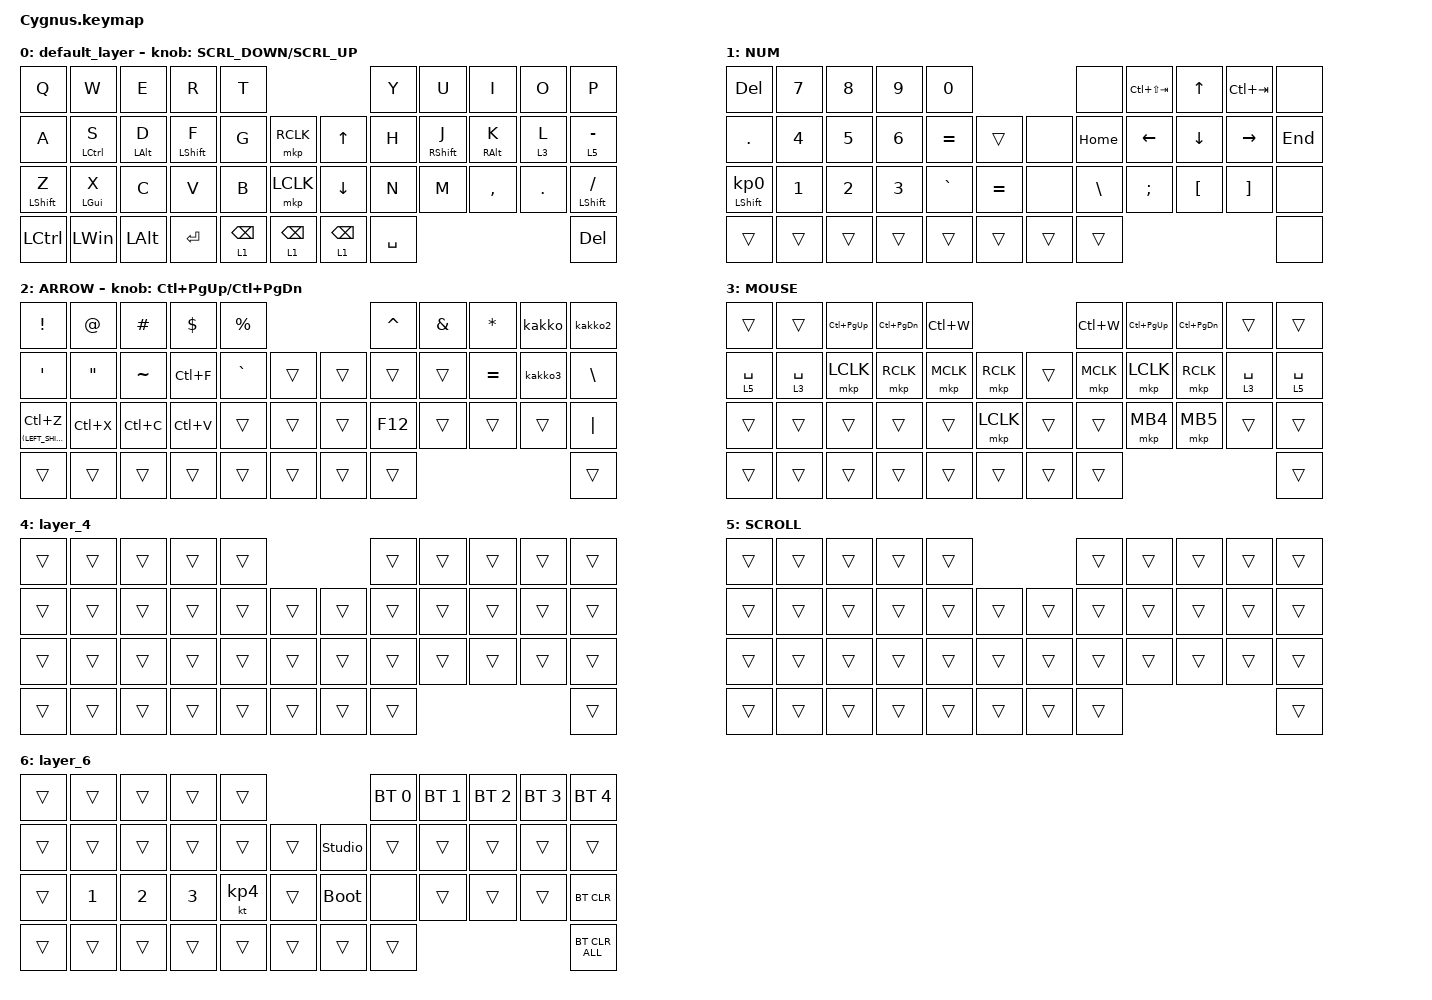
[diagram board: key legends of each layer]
#define ZMK_POINTING_DEFAULT_SCRL_VAL 120    // default: 10

#include <behaviors.dtsi>
#include <dt-bindings/zmk/bt.h>
#include <dt-bindings/zmk/keys.h>
#include <dt-bindings/zmk/pointing.h>

#define MOUSE 4
#define SCROLL 5
#define NUM 6

&mt {
    flavor = "balanced";
    quick-tap-ms = <0>;
    tapping-term-ms = <300>;
};

/ {
    combos {
        compatible = "zmk,combos";

        double_quotation {
            bindings = <&kp DOUBLE_QUOTES>;
            key-positions = <20 21>;
        };

        lang1 {
            bindings = <&kp LANG1>;
            key-positions = <18 19>;
        };

        lang2 {
            bindings = <&kp LANG2>;
            key-positions = <12 13>;
        };

        tab {
            bindings = <&kp TAB>;
            key-positions = <22 23>;
        };

        layer6 {
            bindings = <&mo 6>;
            key-positions = <38 41>;
        };

        esc {
            bindings = <&kp ESC>;
            key-positions = <0 1>;
        };

        del {
            bindings = <&kp DEL>;
            key-positions = <8 9>;
        };
    };

    macros {
        to_layer_0: to_layer_0 {
            compatible = "zmk,behavior-macro-one-param";
            #binding-cells = <1>;
            bindings = <&to 0 &macro_param_1to1 &kp MACRO_PLACEHOLDER>;
            label = "TO_LAYER_0";
        };

        kakko: kakko {
            compatible = "zmk,behavior-macro";
            #binding-cells = <0>;
            bindings =
                <&kp LEFT_PARENTHESIS &kp RIGHT_PARENTHESIS &kp LEFT_ARROW>,
                <&macro_tap>;

            label = "KAKKO";
        };

        kakko2: kakko2 {
            compatible = "zmk,behavior-macro";
            #binding-cells = <0>;
            bindings = <&kp LBKT &kp RBKT &kp LEFT_ARROW>;
            label = "KAKKO2";
        };

        kakko3: kakko3 {
            compatible = "zmk,behavior-macro";
            #binding-cells = <0>;
            bindings = <&kp LBRC &kp RBRC &kp LEFT_ARROW>;
            label = "KAKKO3";
        };
    };

    behaviors {
        lt_to_layer_0: lt_to_layer_0 {
            compatible = "zmk,behavior-hold-tap";
            label = "LAYER_TAP_TO_0";
            bindings = <&mo>, <&to_layer_0>;

            #binding-cells = <2>;
            tapping-term-ms = <200>;
        };

        ROTATE: ROTATE {
            compatible = "zmk,behavior-sensor-rotate-var";
            label = "ROTATE";
            #sensor-binding-cells = <2>;
            bindings = <&msc>, <&msc>;

            tap-ms = <20>;
        };
    };

    keymap {
        compatible = "zmk,keymap";

        default_layer {
            bindings = <
&kp Q             &kp W               &kp E           &kp R             &kp T                                                  &kp Y      &kp U              &kp I            &kp O    &kp P
&kp A             &mt LEFT_CONTROL S  &mt LEFT_ALT D  &mt LEFT_SHIFT F  &kp G            &mkp RCLK            &kp UP_ARROW     &kp H      &mt RIGHT_SHIFT J  &mt RIGHT_ALT K  &lt 3 L  &lt 5 MINUS
&mt LEFT_SHIFT Z  &mt LEFT_GUI X      &kp C           &kp V             &kp B            &mkp LCLK            &kp DOWN_ARROW   &kp N      &kp M              &kp COMMA        &kp DOT  &mt LEFT_SHIFT SLASH
&kp LCTRL         &kp LEFT_WIN        &kp LEFT_ALT    &kp ENTER         &lt 1 BACKSPACE  &lt 1 BACKSPACE      &lt 1 BACKSPACE  &kp SPACE                                               &kp DEL
            >;

            sensor-bindings = <&ROTATE SCRL_DOWN SCRL_UP>;
        };

        NUM {
            bindings = <
&kp DEL                     &kp N7  &kp N8  &kp N9  &kp N0                            &none          &kp LC(LS(TAB))  &kp UP_ARROW      &kp LC(TAB)        &none
&kp PERIOD                  &kp N4  &kp N5  &kp N6  &kp EQUAL  &trans         &none   &kp HOME       &kp LEFT_ARROW   &kp DOWN_ARROW    &kp RIGHT_ARROW    &kp END
&mt LEFT_SHIFT KP_NUMBER_0  &kp N1  &kp N2  &kp N3  &kp GRAVE  &kp EQUAL      &none   &kp BACKSLASH  &kp SEMICOLON    &kp LEFT_BRACKET  &kp RIGHT_BRACKET  &none
&trans                      &trans  &trans  &trans  &trans     &trans         &trans  &trans                                                               &none
            >;
        };

        ARROW {
            bindings = <
&kp EXCLAMATION         &kp AT_SIGN        &kp POUND  &kp DOLLAR  &kp PERCENT                      &kp CARET  &kp AMPERSAND  &kp ASTERISK  &kakko   &kakko2
&kp SINGLE_QUOTE        &kp DOUBLE_QUOTES  &kp TILDE  &kp LC(F)   &kp GRAVE    &trans      &trans  &trans     &trans         &kp EQUAL     &kakko3  &kp BACKSLASH
&mt (LEFT_SHIFT) LC(Z)  &kp LC(X)          &kp LC(C)  &kp LC(V)   &trans       &trans      &trans  &kp F12    &trans         &trans        &trans   &kp PIPE
&trans                  &trans             &trans     &trans      &trans       &trans      &trans  &trans                                           &trans
            >;

            sensor-bindings = <&inc_dec_kp LC(PAGE_UP) LC(PAGE_DOWN)>;
        };

        MOUSE {
            bindings = <
&trans       &trans       &kp LC(PAGE_UP)  &kp LC(PAGE_DOWN)  &kp LC(W)                         &kp LC(W)  &kp LC(PAGE_UP)  &kp LC(PAGE_DOWN)  &trans       &trans
&lt 5 SPACE  &lt 3 SPACE  &mkp LCLK        &mkp RCLK          &mkp MCLK  &mkp RCLK      &trans  &mkp MCLK  &mkp LCLK        &mkp RCLK          &lt 3 SPACE  &lt 5 SPACE
&trans       &trans       &trans           &trans             &trans     &mkp LCLK      &trans  &trans     &mkp MB4         &mkp MB5           &trans       &trans
&trans       &trans       &trans           &trans             &trans     &trans         &trans  &trans                                                      &trans
            >;
        };

        layer_4 {
            bindings = <
&trans  &trans  &trans  &trans  &trans                      &trans  &trans  &trans  &trans  &trans
&trans  &trans  &trans  &trans  &trans  &trans      &trans  &trans  &trans  &trans  &trans  &trans
&trans  &trans  &trans  &trans  &trans  &trans      &trans  &trans  &trans  &trans  &trans  &trans
&trans  &trans  &trans  &trans  &trans  &trans      &trans  &trans                          &trans
            >;
        };

        SCROLL {
            bindings = <
&trans  &trans  &trans  &trans  &trans                      &trans  &trans  &trans  &trans  &trans
&trans  &trans  &trans  &trans  &trans  &trans      &trans  &trans  &trans  &trans  &trans  &trans
&trans  &trans  &trans  &trans  &trans  &trans      &trans  &trans  &trans  &trans  &trans  &trans
&trans  &trans  &trans  &trans  &trans  &trans      &trans  &trans                          &trans
            >;
        };

        layer_6 {
            bindings = <
&trans  &trans        &trans        &trans        &trans                                 &bt BT_SEL 0  &bt BT_SEL 1  &bt BT_SEL 2  &bt BT_SEL 3  &bt BT_SEL 4
&trans  &trans        &trans        &trans        &trans     &trans      &studio_unlock  &trans        &trans        &trans        &trans        &trans
&trans  &kp NUMBER_1  &kp NUMBER_2  &kp NUMBER_3  &kt KP_N4  &trans      &bootloader     &none         &trans        &trans        &trans        &bt BT_CLR
&trans  &trans        &trans        &trans        &trans     &trans      &trans          &trans                                                  &bt BT_CLR_ALL
            >;
        };
    };
};
